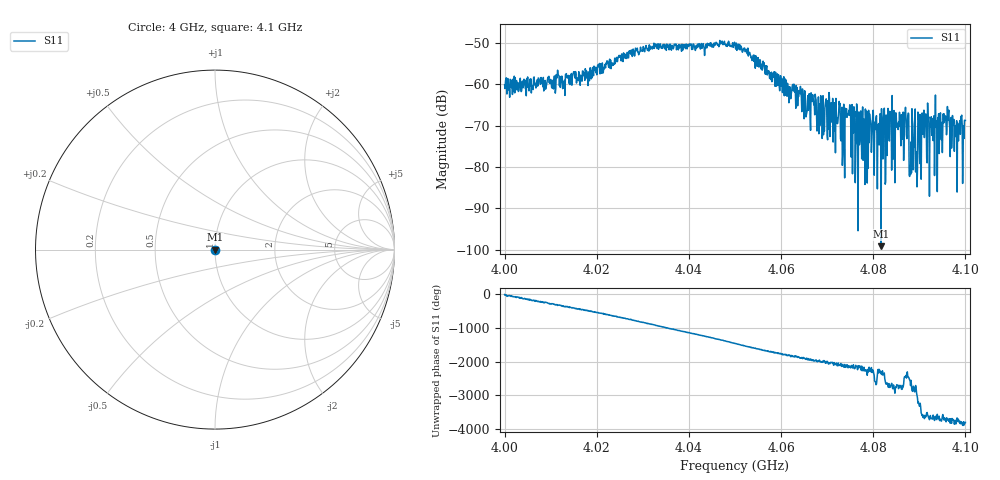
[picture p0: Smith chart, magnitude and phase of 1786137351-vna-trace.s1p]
! Created with skrf 1.10.0 (http://scikit-rf.org).
# Hz S RI R 50.0
!freq ReS11 ImS11
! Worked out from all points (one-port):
!   1001 points, 4 GHz to 4.1 GHz, reference 50 ohm
!   lowest |S11| = -99.2 dB at 4.0817 GHz (marker M1), VSWR 1.00, Z = 50 + j0.000522 ohm
!   |S11| at or under -10 dB: start of sweep to end of sweep
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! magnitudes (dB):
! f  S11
! 4 GHz  -60.2
! 4.0125 GHz  -58.0
! 4.025 GHz  -53.4
! 4.0375 GHz  -51.4
! 4.05 GHz  -50.4
! 4.0625 GHz  -60.0
! 4.0659 GHz  -66.3
! 4.067 GHz  -63.7
! 4.069 GHz  -72.1
! 4.0724 GHz  -67.8
! 4.0734 GHz  -76.9
! 4.0744 GHz  -67.3
! 4.075 GHz  -65.0
! 4.0766 GHz  -73.9
! 4.0817 GHz  -99.2
! 4.083 GHz  -77.2
! 4.0836 GHz  -66.5
! 4.0843 GHz  -78.1
! 4.0872 GHz  -72.3
! 4.0875 GHz  -67.5
! 4.0883 GHz  -81.4
! 4.0886 GHz  -69.8
! 4.0891 GHz  -65.9
! 4.091 GHz  -66.2
! 4.0944 GHz  -71.1
! 4.0959 GHz  -72.2
! 4.0981 GHz  -68.8
! 4.1 GHz  -68.7
